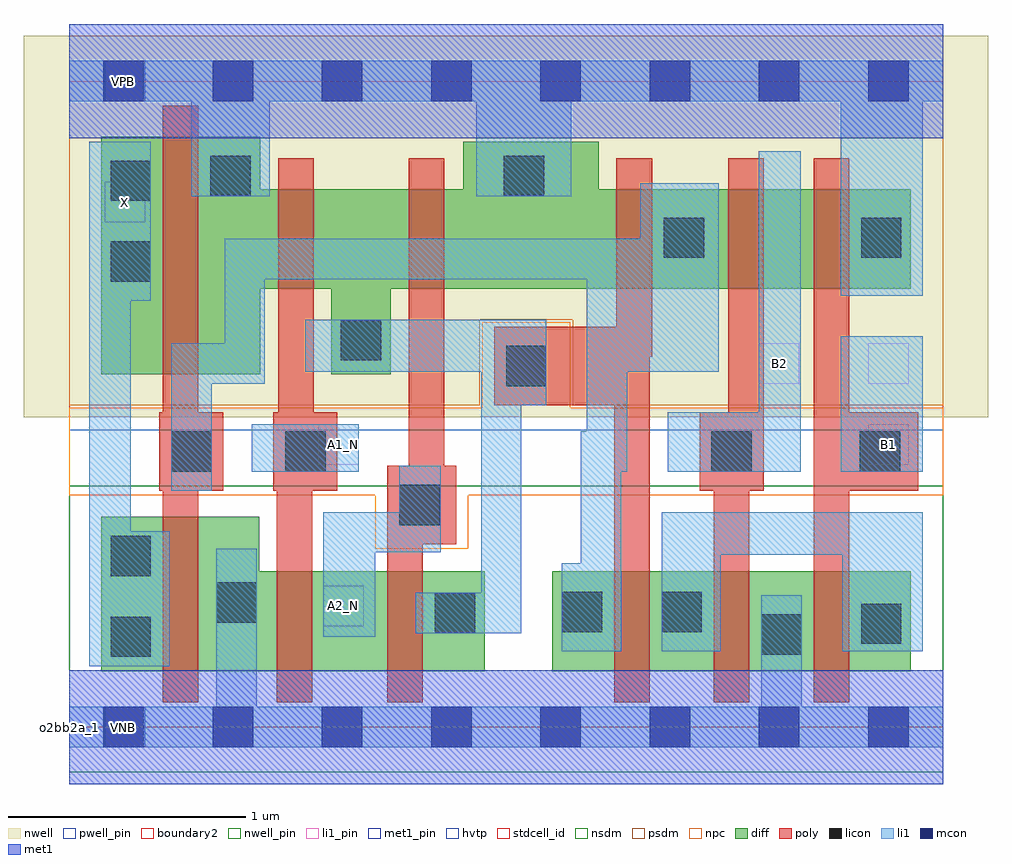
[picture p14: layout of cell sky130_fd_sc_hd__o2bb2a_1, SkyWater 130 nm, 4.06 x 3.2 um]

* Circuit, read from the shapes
.subckt sky130_fd_sc_hd__o2bb2a_1 A1_N A2_N B1 B2 VGND VNB VPB VPWR X
XM1 VGND n1 X VNB sky130_fd_pr__nfet_01v8 w=0.65 l=0.15
XM2 n2 A1_N VGND VNB sky130_fd_pr__nfet_01v8 w=0.42 l=0.15
XM3 n3 A2_N n2 VNB sky130_fd_pr__nfet_01v8 w=0.42 l=0.15
XM4 n4 n3 n1 VNB sky130_fd_pr__nfet_01v8 w=0.42 l=0.15
XM5 VGND B2 n4 VNB sky130_fd_pr__nfet_01v8 w=0.42 l=0.15
XM6 n4 B1 VGND VNB sky130_fd_pr__nfet_01v8 w=0.42 l=0.15
XM7 VPWR n1 X VPB sky130_fd_pr__pfet_01v8_hvt w=1 l=0.15
XM8 n3 A1_N VPWR VPB sky130_fd_pr__pfet_01v8_hvt w=0.42 l=0.15
XM9 VPWR A2_N n3 VPB sky130_fd_pr__pfet_01v8_hvt w=0.42 l=0.15
XM10 n1 n3 VPWR VPB sky130_fd_pr__pfet_01v8_hvt w=0.42 l=0.15
XM11 n5 B2 n1 VPB sky130_fd_pr__pfet_01v8_hvt w=0.42 l=0.15
XM12 VPWR B1 n5 VPB sky130_fd_pr__pfet_01v8_hvt w=0.42 l=0.15
.ends

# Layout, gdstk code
import gdstk
lib = gdstk.Library(unit=1e-6, precision=1e-09)
def R(c, l, rs):  # rectangles x0, y0, x1, y1
    for r in rs: c.add(gdstk.rectangle(r[:2], r[2:], *l))
def A(c, l, x, y, w, h, nx, ny, dx, dy):  # array of equal rectangles
    R(c, l, [(x+i*dx, y+j*dy, x+i*dx+w, y+j*dy+h) for i in range(nx) for j in range(ny)])
def P(c, l, *ps):  # polygons
    for p in ps: c.add(gdstk.Polygon(p, *l))
nwell_pin = (64, 16)
nwell = (64, 20)
diff = (65, 20)
poly = (66, 20)
licon = (66, 44)
li1_pin = (67, 16)
li1 = (67, 20)
mcon = (67, 44)
met1_pin = (68, 16)
met1 = (68, 20)
hvtp = (78, 44)
stdcell_id = (81, 4)
nsdm = (93, 44)
psdm = (94, 20)
npc = (95, 20)
pwell_pin = (122, 16)
boundary2 = (236, 0)

sky130_fd_sc_hd__o2bb2a_ = lib.new_cell('sky130_fd_sc_hd__o2bb2a_1')
R(sky130_fd_sc_hd__o2bb2a_, nwell_pin, [(0.15,2.635,0.32,2.805)])
R(sky130_fd_sc_hd__o2bb2a_, nwell, [(-0.19,1.305,3.87,2.91)])
R(sky130_fd_sc_hd__o2bb2a_, diff, [(2.035,0.235,3.545,0.655)])
P(sky130_fd_sc_hd__o2bb2a_, diff, [(1.75,0.655),(0.8,0.655),(0.8,0.885),(0.135,0.885),(0.135,0.235),(1.75,0.235)],
  [(3.545,2.265),(2.23,2.265),(2.23,2.465),(1.66,2.465),(1.66,2.265),(0.805,2.265),(0.805,2.485),(0.135,2.485),(0.135,1.485),(0.805,1.485),(0.805,1.845),(1.105,1.845),(1.105,1.485),(1.355,1.485),(1.355,1.845),(3.545,1.845)])
P(sky130_fd_sc_hd__o2bb2a_, poly, [(0.65,1.325),(0.545,1.325),(0.545,2.615),(0.395,2.615),(0.395,1.325),(0.38,1.325),(0.38,0.995),(0.395,0.995),(0.395,0.105),(0.545,0.105),(0.545,0.995),(0.65,0.995)],
  [(1.13,1.325),(1.03,1.325),(1.03,2.395),(0.88,2.395),(0.88,1.325),(0.86,1.325),(0.86,0.995),(0.875,0.995),(0.875,0.105),(1.025,0.105),(1.025,0.995),(1.13,0.995)],
  [(1.63,1.1),(1.58,1.1),(1.58,2.395),(1.43,2.395),(1.43,1.1),(1.34,1.1),(1.34,0.105),(1.49,0.105),(1.49,0.77),(1.63,0.77)],
  [(2.925,2.395),(2.775,2.395),(2.775,1.325),(2.655,1.325),(2.655,0.995),(2.715,0.995),(2.715,0.105),(2.865,0.105),(2.865,0.995),(2.925,0.995)],
  [(2.455,2.395),(2.305,2.395),(2.305,1.685),(1.79,1.685),(1.79,1.355),(2.295,1.355),(2.295,0.105),(2.445,0.105),(2.445,1.56),(2.455,1.56)],
  [(3.575,1.325),(3.285,1.325),(3.285,2.395),(3.135,2.395),(3.135,0.105),(3.285,0.105),(3.285,0.995),(3.575,0.995)])
R(sky130_fd_sc_hd__o2bb2a_, licon, [(0.175,0.295,0.345,0.465), (2.915,0.305,3.085,0.475), (3.335,0.35,3.505,0.52), (1.54,0.395,1.71,0.565), (2.075,0.4,2.245,0.57), (2.495,0.4,2.665,0.57), (0.62,0.44,0.79,0.61), (0.175,0.635,0.345,0.805), (1.39,0.85,1.56,1.02), (0.43,1.075,0.6,1.245), (0.91,1.075,1.08,1.245), (2.705,1.075,2.875,1.245), (3.33,1.075,3.5,1.245), (1.84,1.435,2.01,1.605), (1.145,1.545,1.315,1.715), (0.175,1.875,0.345,2.045), (2.505,1.975,2.675,2.145), (3.335,1.975,3.505,2.145), (0.175,2.215,0.345,2.385), (0.595,2.235,0.765,2.405), (1.83,2.235,2,2.405)])
R(sky130_fd_sc_hd__o2bb2a_, li1_pin, [(1.07,0.425,1.24,0.595), (1.05,1.105,1.22,1.275), (3.365,1.105,3.535,1.275), (2.905,1.445,3.075,1.615), (3.365,1.445,3.535,1.615), (0.15,2.125,0.32,2.295)])
R(sky130_fd_sc_hd__o2bb2a_, li1, [(0.77,1.075,1.22,1.275), (3.25,1.075,3.595,1.645)])
P(sky130_fd_sc_hd__o2bb2a_, li1, [(3.08,2.425),(2.905,2.425),(2.905,1.325),(2.52,1.325),(2.52,1.075),(3.08,1.075)],
  [(1.565,1.1),(1.39,1.1),(1.39,0.905),(1.07,0.905),(1.07,0.38),(1.29,0.38),(1.29,0.735),(1.565,0.735)],
  [(2.735,2.29),(2.405,2.29),(2.405,2.055),(0.655,2.055),(0.655,1.615),(0.43,1.615),(0.43,0.995),(0.6,0.995),(0.6,1.445),(0.825,1.445),(0.825,1.885),(2.18,1.885),(2.18,1.245),(2.155,1.245),(2.155,0.69),(2.075,0.69),(2.075,0.32),(2.325,0.32),(2.325,1.075),(2.35,1.075),(2.35,1.495),(2.735,1.495)],
  [(3.595,0.905),(2.495,0.905),(2.495,0.32),(2.745,0.32),(2.745,0.725),(3.255,0.725),(3.255,0.32),(3.595,0.32)],
  [(3.68,0.085),(3.085,0.085),(3.085,0.555),(2.915,0.555),(2.915,0.085),(0.79,0.085),(0.79,0.75),(0.62,0.75),(0.62,0.085),(0,0.085),(0,-0.085),(3.68,-0.085)],
  [(0.425,0.825),(0.26,0.825),(0.26,1.795),(0.345,1.795),(0.345,2.465),(0.085,2.465),(0.085,0.255),(0.425,0.255)],
  [(2.01,1.715),(0.995,1.715),(0.995,1.495),(1.735,1.495),(1.735,0.565),(1.46,0.565),(1.46,0.395),(1.905,0.395),(1.905,1.355),(2.01,1.355)],
  [(3.68,2.805),(0,2.805),(0,2.635),(0.515,2.635),(0.515,2.235),(0.845,2.235),(0.845,2.635),(1.715,2.635),(1.715,2.235),(2.115,2.235),(2.115,2.635),(3.25,2.635),(3.25,1.815),(3.595,1.815),(3.595,2.635),(3.68,2.635)])
A(sky130_fd_sc_hd__o2bb2a_, mcon, 0.145, -0.085, 0.17, 0.17, 8, 2, 0.46, 2.72)
R(sky130_fd_sc_hd__o2bb2a_, met1_pin, [(0.15,-0.085,0.32,0.085), (0.15,2.635,0.32,2.805)])
R(sky130_fd_sc_hd__o2bb2a_, hvtp, [(0,1.25,3.68,2.72)])
R(sky130_fd_sc_hd__o2bb2a_, stdcell_id, [(0,0,3.68,2.72)])
R(sky130_fd_sc_hd__o2bb2a_, nsdm, [(0,-0.19,3.68,1.015)])
P(sky130_fd_sc_hd__o2bb2a_, psdm, [(3.68,2.91),(0,2.91),(0,1.355),(1.73,1.355),(1.73,1.715),(2.12,1.715),(2.12,1.355),(3.68,1.355)])
P(sky130_fd_sc_hd__o2bb2a_, npc, [(3.68,1.345),(2.11,1.345),(2.11,1.705),(1.74,1.705),(1.74,1.345),(0,1.345),(0,0.975),(1.29,0.975),(1.29,0.75),(1.68,0.75),(1.68,0.975),(3.68,0.975)])
R(sky130_fd_sc_hd__o2bb2a_, pwell_pin, [(0.15,-0.085,0.32,0.085)])
R(sky130_fd_sc_hd__o2bb2a_, boundary2, [(0,0,3.68,2.72)])
sky130_fd_sc_hd__o2bb2a_.add(gdstk.FlexPath([(0,2.72),(3.68,2.72)], 0.48, ends="flush", simple_path=True, layer=68, datatype=20))  # met1
sky130_fd_sc_hd__o2bb2a_.add(gdstk.FlexPath([(0,0),(3.68,0)], 0.48, ends="flush", simple_path=True, layer=68, datatype=20))  # met1
sky130_fd_sc_hd__o2bb2a_.add(gdstk.Label('A1_N', (1.155,1.19), layer=67, texttype=5))
sky130_fd_sc_hd__o2bb2a_.add(gdstk.Label('X', (0.235,2.21), layer=67, texttype=5))
sky130_fd_sc_hd__o2bb2a_.add(gdstk.Label('A2_N', (1.155,0.51), layer=67, texttype=5))
sky130_fd_sc_hd__o2bb2a_.add(gdstk.Label('B2', (2.99,1.53), layer=67, texttype=5))
sky130_fd_sc_hd__o2bb2a_.add(gdstk.Label('B1', (3.45,1.19), layer=67, texttype=5))
sky130_fd_sc_hd__o2bb2a_.add(gdstk.Label('VNB', (0.23,0), layer=64, texttype=59))
sky130_fd_sc_hd__o2bb2a_.add(gdstk.Label('VPB', (0.23,2.72), layer=64, texttype=5))
sky130_fd_sc_hd__o2bb2a_.add(gdstk.Label('VPWR', (0.23,2.72), layer=68, texttype=5))
sky130_fd_sc_hd__o2bb2a_.add(gdstk.Label('VGND', (0.23,0), layer=68, texttype=5))
sky130_fd_sc_hd__o2bb2a_.add(gdstk.Label('o2bb2a_1', (0,0), layer=83, texttype=44))

lib.write_gds('sky130_fd_sc_hd__o2bb2a_1.gds')
